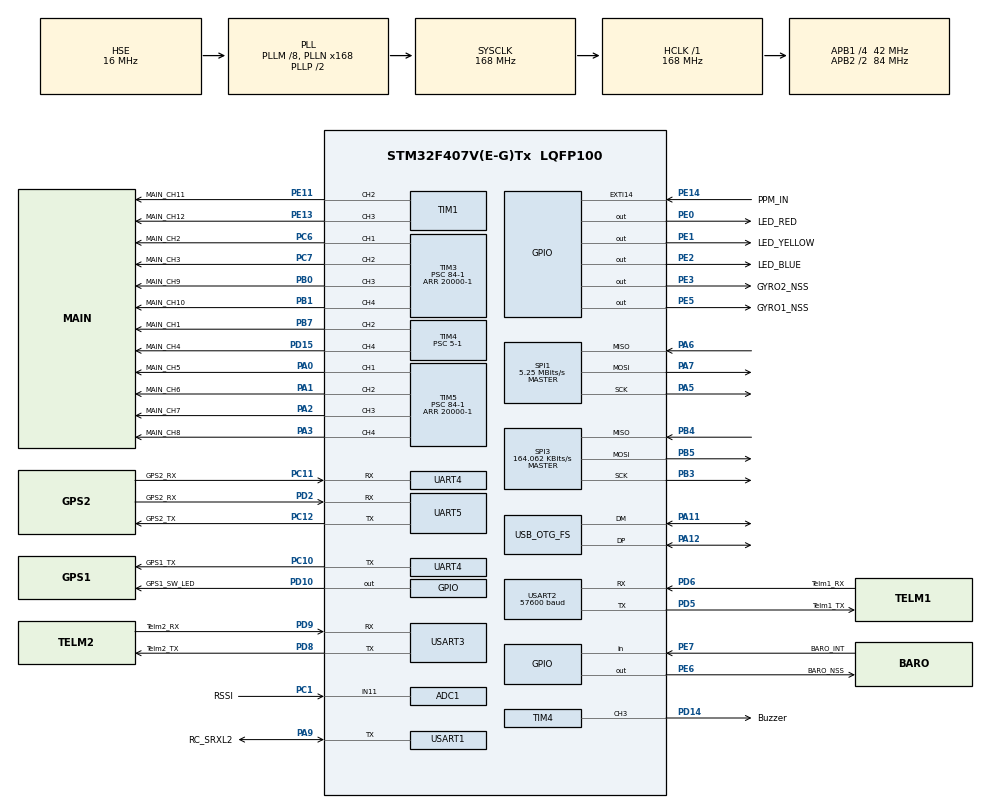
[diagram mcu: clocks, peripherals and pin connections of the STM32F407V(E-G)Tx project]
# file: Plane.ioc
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ADC1.Channel-0\#ChannelRegularConversion=ADC_CHANNEL_11
ADC1.NbrOfConversionFlag=1
ADC1.Rank-0\#ChannelRegularConversion=1
ADC1.SamplingTime-0\#ChannelRegularConversion=ADC_SAMPLETIME_3CYCLES
ADC1.master=1
Mcu.Family=STM32F4
Mcu.Name=STM32F407V(E-G)Tx
Mcu.Package=LQFP100
NVIC.EXTI15_10_IRQn=true\:0\:0\:true\:false\:true\:true\:true\:true
NVIC.OTG_FS_IRQn=true\:1\:0\:true\:false\:true\:false\:true\:true
NVIC.PriorityGroup=NVIC_PRIORITYGROUP_4
NVIC.TIM1_UP_TIM10_IRQn=true\:3\:0\:true\:false\:true\:true\:true\:true
NVIC.TIM5_IRQn=true\:3\:0\:true\:false\:true\:true\:true\:true
NVIC.TIM8_TRG_COM_TIM14_IRQn=true\:4\:0\:true\:false\:true\:true\:true\:true
NVIC.TIM8_UP_TIM13_IRQn=true\:4\:0\:true\:false\:true\:true\:true\:true
NVIC.UART5_IRQn=true\:2\:0\:true\:false\:true\:true\:true\:true
NVIC.USART1_IRQn=true\:0\:0\:true\:false\:true\:true\:true\:true
NVIC.USART2_IRQn=true\:2\:0\:true\:false\:true\:true\:true\:true
NVIC.USART3_IRQn=true\:2\:0\:true\:false\:true\:true\:true\:true
PA0-WKUP.GPIO_Label=MAIN_CH5
PA0-WKUP.Signal=S_TIM5_CH1
PA1.GPIO_Label=MAIN_CH6
PA1.Signal=S_TIM5_CH2
PA11.Mode=Device_Only
PA11.Signal=USB_OTG_FS_DM
PA12.Mode=Device_Only
PA12.Signal=USB_OTG_FS_DP
PA13.Mode=Serial_Wire
PA13.Signal=SYS_JTMS-SWDIO
PA14.Mode=Serial_Wire
PA14.Signal=SYS_JTCK-SWCLK
PA2.GPIO_Label=MAIN_CH7
PA2.Signal=S_TIM5_CH3
PA3.GPIO_Label=MAIN_CH8
PA3.Signal=S_TIM5_CH4
PA5.GPIO_Mode=GPIO_MODE_AF_PP
PA5.GPIO_PuPd=GPIO_NOPULL
PA5.Mode=Full_Duplex_Master
PA5.Signal=SPI1_SCK
PA6.Mode=Full_Duplex_Master
PA6.Signal=SPI1_MISO
PA7.Mode=Full_Duplex_Master
PA7.Signal=SPI1_MOSI
PA9.GPIO_Label=RC_SRXL2
PA9.GPIO_ModeDefaultOD=GPIO_MODE_AF_PP
PA9.GPIO_PuPd=GPIO_PULLUP
PA9.Mode=Half_duplex(single_wire_mode)
PA9.Signal=USART1_TX
PB0.GPIO_Label=MAIN_CH9
PB0.Signal=S_TIM3_CH3
PB1.GPIO_Label=MAIN_CH10
PB1.Signal=S_TIM3_CH4
PB3.GPIO_PuPd=GPIO_NOPULL
PB3.Mode=Full_Duplex_Master
PB3.Signal=SPI3_SCK
PB4.GPIO_PuPd=GPIO_NOPULL
PB4.Mode=Full_Duplex_Master
PB4.Signal=SPI3_MISO
PB5.GPIO_PuPd=GPIO_NOPULL
PB5.Mode=Full_Duplex_Master
PB5.Signal=SPI3_MOSI
PB7.GPIO_Label=MAIN_CH1
PB7.Signal=S_TIM4_CH2
PC1.GPIO_Label=RSSI
PC1.Signal=ADCx_IN11
PC10.GPIO_Label=GPS1_TX
PC10.Mode=Asynchronous
PC10.Signal=UART4_TX
PC11.GPIO_Label=GPS2_RX
PC11.Mode=Asynchronous
PC11.Signal=UART4_RX
PC12.GPIO_Label=GPS2_TX
PC12.Mode=Asynchronous
PC12.Signal=UART5_TX
PC6.GPIO_Label=MAIN_CH2
PC6.Signal=S_TIM3_CH1
PC7.GPIO_Label=MAIN_CH3
PC7.Signal=S_TIM3_CH2
PD10.GPIO_Label=GPS1_SW_LED 
PD10.Signal=GPIO_Output
PD11.Signal=USART3_CTS
PD12.Signal=USART3_RTS
PD14.GPIO_Label=Buzzer
PD14.Signal=S_TIM4_CH3
PD15.GPIO_Label=MAIN_CH4
PD15.Signal=S_TIM4_CH4
PD2.GPIO_Label=GPS2_RX
PD2.Mode=Asynchronous
PD2.Signal=UART5_RX
PD3.Signal=USART2_CTS
PD4.Signal=USART2_RTS
PD5.GPIO_Label=Telm1_TX
PD5.Mode=Asynchronous
PD5.Signal=USART2_TX
PD6.GPIO_Label=Telm1_RX
PD6.Mode=Asynchronous
PD6.Signal=USART2_RX
PD8.GPIO_Label=Telm2_TX
PD8.Mode=Asynchronous
PD8.Signal=USART3_TX
PD9.GPIO_Label=Telm2_RX
PD9.Mode=Asynchronous
PD9.Signal=USART3_RX
PE0.GPIO_Label=LED_RED
PE0.Signal=GPIO_Output
PE1.GPIO_Label=LED_YELLOW
PE1.Signal=GPIO_Output
PE11.GPIO_Label=MAIN_CH11
PE11.Signal=S_TIM1_CH2
PE13.GPIO_Label=MAIN_CH12
PE13.Signal=S_TIM1_CH3
PE14.GPIO_Label=PPM_IN
PE14.GPIO_ModeDefaultEXTI=GPIO_MODE_IT_FALLING
PE14.Signal=GPXTI14
PE2.GPIO_Label=LED_BLUE
PE2.Signal=GPIO_Output
PE3.GPIO_Label=GYRO2_NSS
PE3.GPIO_PuPd=GPIO_PULLUP
PE3.Signal=GPIO_Output
PE5.GPIO_Label=GYRO1_NSS
PE5.GPIO_PuPd=GPIO_PULLUP
PE5.Signal=GPIO_Output
PE6.GPIO_Label=BARO_NSS
PE6.GPIO_PuPd=GPIO_PULLUP
PE6.Signal=GPIO_Output
PE7.GPIO_Label=BARO_INT
PE7.Signal=GPIO_Input
PH0-OSC_IN.Mode=HSE-External-Oscillator
PH0-OSC_IN.Signal=RCC_OSC_IN
PH1-OSC_OUT.Mode=HSE-External-Oscillator
PH1-OSC_OUT.Signal=RCC_OSC_OUT
ProjectManager.HeapSize=0x200
ProjectManager.StackSize=0x400
ProjectManager.TargetToolchain=STM32CubeIDE
RCC.48MHZClocksFreq_Value=48000000
RCC.AHBFreq_Value=168000000
RCC.APB1CLKDivider=RCC_HCLK_DIV4
RCC.APB1Freq_Value=42000000
RCC.APB1TimFreq_Value=84000000
RCC.APB2CLKDivider=RCC_HCLK_DIV2
RCC.APB2Freq_Value=84000000
RCC.APB2TimFreq_Value=168000000
RCC.CortexFreq_Value=168000000
RCC.HCLKFreq_Value=168000000
RCC.HSE_VALUE=16000000
RCC.HSI_VALUE=16000000
RCC.LSE_VALUE=32768
RCC.PLLM=8
RCC.PLLN=168
RCC.PLLQ=7
RCC.SYSCLKFreq_VALUE=168000000
RCC.SYSCLKSource=RCC_SYSCLKSOURCE_PLLCLK
RCC.VCOOutputFreq_Value=336000000
SH.ADCx_IN11.0=ADC1_IN11,IN11
SH.S_TIM1_CH2.0=TIM1_CH2,PWM Generation2 CH2
SH.S_TIM1_CH3.0=TIM1_CH3,PWM Generation3 CH3
SH.S_TIM3_CH1.0=TIM3_CH1,PWM Generation1 CH1
SH.S_TIM3_CH2.0=TIM3_CH2,PWM Generation2 CH2
SH.S_TIM3_CH3.0=TIM3_CH3,PWM Generation3 CH3
SH.S_TIM3_CH4.0=TIM3_CH4,PWM Generation4 CH4
SH.S_TIM4_CH2.0=TIM4_CH2,PWM Generation2 CH2
SH.S_TIM4_CH3.0=TIM4_CH3,PWM Generation3 CH3
SH.S_TIM4_CH4.0=TIM4_CH4,PWM Generation4 CH4
SH.S_TIM5_CH1.0=TIM5_CH1,PWM Generation1 CH1
SH.S_TIM5_CH2.0=TIM5_CH2,PWM Generation2 CH2
SH.S_TIM5_CH3.0=TIM5_CH3,PWM Generation3 CH3
SH.S_TIM5_CH4.0=TIM5_CH4,PWM Generation4 CH4
SPI1.BaudRatePrescaler=SPI_BAUDRATEPRESCALER_16
SPI1.CLKPhase=SPI_PHASE_2EDGE
SPI1.CLKPolarity=SPI_POLARITY_HIGH
SPI1.CalculateBaudRate=5.25 MBits/s
SPI1.Direction=SPI_DIRECTION_2LINES
SPI1.Mode=SPI_MODE_MASTER
SPI1.VirtualType=VM_MASTER
SPI3.BaudRatePrescaler=SPI_BAUDRATEPRESCALER_256
SPI3.CLKPhase=SPI_PHASE_2EDGE
SPI3.CLKPolarity=SPI_POLARITY_HIGH
SPI3.CalculateBaudRate=164.062 KBits/s
SPI3.Direction=SPI_DIRECTION_2LINES
SPI3.Mode=SPI_MODE_MASTER
SPI3.VirtualType=VM_MASTER
TIM1.Channel-PWM\ Generation2\ CH2=TIM_CHANNEL_2
TIM1.Channel-PWM\ Generation3\ CH3=TIM_CHANNEL_3
TIM13.Channel=TIM_CHANNEL_1
TIM13.Period=42000-1
TIM13.Prescaler=2-1
TIM14.Channel=TIM_CHANNEL_1
TIM14.Period=84-1
TIM14.Prescaler=0
TIM3.Channel-PWM\ Generation1\ CH1=TIM_CHANNEL_1
TIM3.Channel-PWM\ Generation2\ CH2=TIM_CHANNEL_2
TIM3.Channel-PWM\ Generation3\ CH3=TIM_CHANNEL_3
TIM3.Channel-PWM\ Generation4\ CH4=TIM_CHANNEL_4
TIM3.Period=20000-1
TIM3.Prescaler=84-1
TIM4.Channel-PWM\ Generation2\ CH2=TIM_CHANNEL_2
TIM4.Channel-PWM\ Generation3\ CH3=TIM_CHANNEL_3
TIM4.Channel-PWM\ Generation4\ CH4=TIM_CHANNEL_4
TIM4.Period=64220-1
TIM4.Prescaler=5-1
TIM4.Pulse-PWM\ Generation3\ CH3=0
TIM5.AutoReloadPreload=TIM_AUTORELOAD_PRELOAD_DISABLE
TIM5.Channel-PWM\ Generation1\ CH1=TIM_CHANNEL_1
TIM5.Channel-PWM\ Generation2\ CH2=TIM_CHANNEL_2
TIM5.Channel-PWM\ Generation3\ CH3=TIM_CHANNEL_3
TIM5.Channel-PWM\ Generation4\ CH4=TIM_CHANNEL_4
TIM5.Period=20000-1
TIM5.Prescaler=84-1
TIM5.Pulse-PWM\ Generation1\ CH1=1000-1
TIM5.Pulse-PWM\ Generation2\ CH2=1000-1
TIM5.Pulse-PWM\ Generation3\ CH3=1000-1
TIM5.Pulse-PWM\ Generation4\ CH4=1000-1
UART4.VirtualMode=Asynchronous
UART5.VirtualMode=Asynchronous
USART1.VirtualMode=VM_ASYNC
USART2.BaudRate=57600
USART2.VirtualMode=VM_ASYNC
USART3.VirtualMode=VM_ASYNC
USB_DEVICE.CLASS_NAME_FS=CDC
USB_DEVICE.USBD_DEBUG_LEVEL-CDC_FS=0
USB_DEVICE.VirtualMode-CDC_FS=Cdc
USB_DEVICE.VirtualModeFS=Cdc_FS
USB_OTG_FS.VirtualMode=Device_Only
VP_TIM13_VS_ClockSourceINT.Mode=Enable_Timer
VP_TIM13_VS_no_output1.Mode=Output Compare1 No Output
VP_TIM14_VS_ClockSourceINT.Mode=Enable_Timer
VP_TIM14_VS_no_output1.Mode=Output Compare1 No Output
VP_TIM1_VS_ClockSourceINT.Mode=Internal
VP_TIM3_VS_ClockSourceINT.Mode=Internal
VP_TIM4_VS_ClockSourceINT.Mode=Internal
VP_TIM5_VS_ClockSourceINT.Mode=Internal
VP_USB_DEVICE_VS_USB_DEVICE_CDC_FS.Mode=CDC_FS
board=custom

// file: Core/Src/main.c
/* USER CODE BEGIN Header */
/**
  ******************************************************************************
  * @file           : main.c
  * @brief          : Main program body
  ******************************************************************************
  * @attention
  *
  * Copyright (c) 2025 STMicroelectronics.
  * All rights reserved.
  *
  * This software is licensed under terms that can be found in the LICENSE file
  * in the root directory of this software component.
  * If no LICENSE file comes with this software, it is provided AS-IS.
  *
  ******************************************************************************
  */
/* USER CODE END Header */
#include "main.h"
#include "usb_device.h"

/* USER CODE BEGIN Includes */
#include "usbd_cdc_if.h"

#include <FC_Param/Param.h>
#include <GCS_MAVLink/GCS_MAVLink.h>

#include <FC_Basic/Buzzer/driver.h>

#include <FC_Servo/driver.h>
#include <FC_RC/driver.h>

#include <FC_AHRS/FC_IMU/driver.h>
#include <FC_AHRS/FC_Baro/driver.h>

#include <FC_Log/Log.h>

/* USER CODE END Includes */

/* USER CODE BEGIN PTD */
int _write(int file, char *p, int len)
{
#define PRINT_CDC 1
#if PRINT_CDC == 0
	for(int i=0; i<len; i++)
	{
		while(!LL_USART_IsActiveFlag_TXE(USART2));
		LL_USART_TransmitData8(USART2, *(p+i));
	}
#else
	while(USBD_BUSY == CDC_Transmit_FS((uint8_t*)p, len)) {}
	return len;
#endif
}

/* USER CODE END PTD */

/* USER CODE BEGIN PV */
// Telm1
extern uint8_t uart2_rx_flag;
extern uint8_t uart2_rx_data;

// Telm2
extern uint8_t uart3_rx_flag;
extern uint8_t uart3_rx_data;
/* USER CODE END PV */

void SystemClock_Config(void);
static void MX_GPIO_Init(void);
static void MX_USART1_UART_Init(void);
static void MX_TIM1_Init(void);
static void MX_TIM3_Init(void);
static void MX_TIM4_Init(void);
static void MX_TIM5_Init(void);
static void MX_TIM13_Init(void);
static void MX_TIM14_Init(void);
static void MX_SPI1_Init(void);
static void MX_USART2_UART_Init(void);
static void MX_USART3_UART_Init(void);
static void MX_UART4_Init(void);
static void MX_UART5_Init(void);
static void MX_ADC1_Init(void);
static void MX_SPI3_Init(void);
/* USER CODE BEGIN PFP */
extern int PARM_load(void);
/* USER CODE END PFP */

int main(void)
{

  /* MCU Configuration--------------------------------------------------------*/

  /* Reset of all peripherals, Initializes the Flash interface and the Systick. */
  HAL_Init();

  /* Configure the system clock */
  SystemClock_Config();

  /* Initialize all configured peripherals */
  MX_GPIO_Init();
  MX_USART1_UART_Init();
  MX_TIM1_Init();
  MX_TIM3_Init();
  MX_TIM4_Init();
  MX_TIM5_Init();
  MX_TIM13_Init();
  MX_TIM14_Init();
  MX_SPI1_Init();
  MX_USART2_UART_Init();
  MX_USART3_UART_Init();
  MX_UART4_Init();
  MX_UART5_Init();
  MX_USB_DEVICE_Init();
  MX_ADC1_Init();
  MX_SPI3_Init();
  /* USER CODE BEGIN 2 */

  LL_TIM_EnableCounter(TIM4);
  LL_TIM_EnableCounter(TIM13);
  LL_TIM_EnableCounter(TIM14);

  PARM_load();

  BuzzerPlayInit();

  // interrupt when finished receiving
  LL_USART_EnableIT_RXNE(USART1);
  LL_USART_EnableIT_RXNE(USART2);
  LL_USART_EnableIT_RXNE(USART3);

  // 필수 기기 점검
  SERVO_Initialization();
  RC_Initialization();
  IMU_Initialization();
//  Baro_Initialization();
  BuzzerPlayOneCycle();
  SERVO_doArm();

  /* USER CODE END 2 */

  /* Infinite loop */
  /* USER CODE BEGIN WHILE */
  while (1)
  {
	  RC_GetData();

	  IMU_GetData();
//	  Baro_GetData();

	  if(fsFlag == 1){
		  FS_mannualMode();
	  }
	  else{
		  LL_GPIO_ResetOutputPin(LED_RED_GPIO_Port, LED_RED_Pin);
		  SERVO_control();
	  }

	  Log_Send();

    /* USER CODE END WHILE */

  }
}

void SystemClock_Config(void)
{
  RCC_OscInitTypeDef RCC_OscInitStruct = {0};
  RCC_ClkInitTypeDef RCC_ClkInitStruct = {0};

  /** Configure the main internal regulator output voltage
  */
  __HAL_RCC_PWR_CLK_ENABLE();
  __HAL_PWR_VOLTAGESCALING_CONFIG(PWR_REGULATOR_VOLTAGE_SCALE1);

  /** Initializes the RCC Oscillators according to the specified parameters
  * in the RCC_OscInitTypeDef structure.
  */
  RCC_OscInitStruct.OscillatorType = RCC_OSCILLATORTYPE_HSE;
  RCC_OscInitStruct.HSEState = RCC_HSE_ON;
  RCC_OscInitStruct.PLL.PLLState = RCC_PLL_ON;
  RCC_OscInitStruct.PLL.PLLSource = RCC_PLLSOURCE_HSE;
  RCC_OscInitStruct.PLL.PLLM = 8;
  RCC_OscInitStruct.PLL.PLLN = 168;
  RCC_OscInitStruct.PLL.PLLP = RCC_PLLP_DIV2;
  RCC_OscInitStruct.PLL.PLLQ = 7;
  if (HAL_RCC_OscConfig(&RCC_OscInitStruct) != HAL_OK)
  {
    Error_Handler();
  }

  /** Initializes the CPU, AHB and APB buses clocks
  */
  RCC_ClkInitStruct.ClockType = RCC_CLOCKTYPE_HCLK|RCC_CLOCKTYPE_SYSCLK
                              |RCC_CLOCKTYPE_PCLK1|RCC_CLOCKTYPE_PCLK2;
  RCC_ClkInitStruct.SYSCLKSource = RCC_SYSCLKSOURCE_PLLCLK;
  RCC_ClkInitStruct.AHBCLKDivider = RCC_SYSCLK_DIV1;
  RCC_ClkInitStruct.APB1CLKDivider = RCC_HCLK_DIV4;
  RCC_ClkInitStruct.APB2CLKDivider = RCC_HCLK_DIV2;

  if (HAL_RCC_ClockConfig(&RCC_ClkInitStruct, FLASH_LATENCY_5) != HAL_OK)
  {
    Error_Handler();
  }
}

static void MX_ADC1_Init(void)
{

  LL_ADC_InitTypeDef ADC_InitStruct = {0};
  LL_ADC_REG_InitTypeDef ADC_REG_InitStruct = {0};
  LL_ADC_CommonInitTypeDef ADC_CommonInitStruct = {0};

  LL_GPIO_InitTypeDef GPIO_InitStruct = {0};

  /* Peripheral clock enable */
  LL_APB2_GRP1_EnableClock(LL_APB2_GRP1_PERIPH_ADC1);

  LL_AHB1_GRP1_EnableClock(LL_AHB1_GRP1_PERIPH_GPIOC);
  /**ADC1 GPIO Configuration
  PC1   ------> ADC1_IN11
  */
  GPIO_InitStruct.Pin = RSSI_Pin;
  GPIO_InitStruct.Mode = LL_GPIO_MODE_ANALOG;
  GPIO_InitStruct.Pull = LL_GPIO_PULL_NO;
  LL_GPIO_Init(RSSI_GPIO_Port, &GPIO_InitStruct);

  /** Common config
  */
  ADC_InitStruct.Resolution = LL_ADC_RESOLUTION_12B;
  ADC_InitStruct.DataAlignment = LL_ADC_DATA_ALIGN_RIGHT;
  ADC_InitStruct.SequencersScanMode = LL_ADC_SEQ_SCAN_DISABLE;
  LL_ADC_Init(ADC1, &ADC_InitStruct);
  ADC_REG_InitStruct.TriggerSource = LL_ADC_REG_TRIG_SOFTWARE;
  ADC_REG_InitStruct.SequencerLength = LL_ADC_REG_SEQ_SCAN_DISABLE;
  ADC_REG_InitStruct.SequencerDiscont = LL_ADC_REG_SEQ_DISCONT_DISABLE;
  ADC_REG_InitStruct.ContinuousMode = LL_ADC_REG_CONV_SINGLE;
  ADC_REG_InitStruct.DMATransfer = LL_ADC_REG_DMA_TRANSFER_NONE;
  LL_ADC_REG_Init(ADC1, &ADC_REG_InitStruct);
  LL_ADC_REG_SetFlagEndOfConversion(ADC1, LL_ADC_REG_FLAG_EOC_UNITARY_CONV);
  ADC_CommonInitStruct.CommonClock = LL_ADC_CLOCK_SYNC_PCLK_DIV4;
  ADC_CommonInitStruct.Multimode = LL_ADC_MULTI_INDEPENDENT;
  LL_ADC_CommonInit(__LL_ADC_COMMON_INSTANCE(ADC1), &ADC_CommonInitStruct);

  /** Configure Regular Channel
  */
  LL_ADC_REG_SetSequencerRanks(ADC1, LL_ADC_REG_RANK_1, LL_ADC_CHANNEL_11);
  LL_ADC_SetChannelSamplingTime(ADC1, LL_ADC_CHANNEL_11, LL_ADC_SAMPLINGTIME_3CYCLES);

}

static void MX_SPI1_Init(void)
{

  LL_SPI_InitTypeDef SPI_InitStruct = {0};

  LL_GPIO_InitTypeDef GPIO_InitStruct = {0};

  /* Peripheral clock enable */
  LL_APB2_GRP1_EnableClock(LL_APB2_GRP1_PERIPH_SPI1);

  LL_AHB1_GRP1_EnableClock(LL_AHB1_GRP1_PERIPH_GPIOA);
  /**SPI1 GPIO Configuration
  PA5   ------> SPI1_SCK
  PA6   ------> SPI1_MISO
  PA7   ------> SPI1_MOSI
  */
  GPIO_InitStruct.Pin = LL_GPIO_PIN_5|LL_GPIO_PIN_6|LL_GPIO_PIN_7;
  GPIO_InitStruct.Mode = LL_GPIO_MODE_ALTERNATE;
  GPIO_InitStruct.Speed = LL_GPIO_SPEED_FREQ_VERY_HIGH;
  GPIO_InitStruct.OutputType = LL_GPIO_OUTPUT_PUSHPULL;
  GPIO_InitStruct.Pull = LL_GPIO_PULL_NO;
  GPIO_InitStruct.Alternate = LL_GPIO_AF_5;
  LL_GPIO_Init(GPIOA, &GPIO_InitStruct);

  /* SPI1 parameter configuration*/
  SPI_InitStruct.TransferDirection = LL_SPI_FULL_DUPLEX;
  SPI_InitStruct.Mode = LL_SPI_MODE_MASTER;
  SPI_InitStruct.DataWidth = LL_SPI_DATAWIDTH_8BIT;
  SPI_InitStruct.ClockPolarity = LL_SPI_POLARITY_HIGH;
  SPI_InitStruct.ClockPhase = LL_SPI_PHASE_2EDGE;
  SPI_InitStruct.NSS = LL_SPI_NSS_SOFT;
  SPI_InitStruct.BaudRate = LL_SPI_BAUDRATEPRESCALER_DIV16;
  SPI_InitStruct.BitOrder = LL_SPI_MSB_FIRST;
  SPI_InitStruct.CRCCalculation = LL_SPI_CRCCALCULATION_DISABLE;
  SPI_InitStruct.CRCPoly = 10;
  LL_SPI_Init(SPI1, &SPI_InitStruct);
  LL_SPI_SetStandard(SPI1, LL_SPI_PROTOCOL_MOTOROLA);

}

static void MX_SPI3_Init(void)
{

  LL_SPI_InitTypeDef SPI_InitStruct = {0};

  LL_GPIO_InitTypeDef GPIO_InitStruct = {0};

  /* Peripheral clock enable */
  LL_APB1_GRP1_EnableClock(LL_APB1_GRP1_PERIPH_SPI3);

  LL_AHB1_GRP1_EnableClock(LL_AHB1_GRP1_PERIPH_GPIOB);
  /**SPI3 GPIO Configuration
  PB3   ------> SPI3_SCK
  PB4   ------> SPI3_MISO
  PB5   ------> SPI3_MOSI
  */
  GPIO_InitStruct.Pin = LL_GPIO_PIN_3|LL_GPIO_PIN_4|LL_GPIO_PIN_5;
  GPIO_InitStruct.Mode = LL_GPIO_MODE_ALTERNATE;
  GPIO_InitStruct.Speed = LL_GPIO_SPEED_FREQ_VERY_HIGH;
  GPIO_InitStruct.OutputType = LL_GPIO_OUTPUT_PUSHPULL;
  GPIO_InitStruct.Pull = LL_GPIO_PULL_NO;
  GPIO_InitStruct.Alternate = LL_GPIO_AF_6;
  LL_GPIO_Init(GPIOB, &GPIO_InitStruct);

  /* SPI3 parameter configuration*/
  SPI_InitStruct.TransferDirection = LL_SPI_FULL_DUPLEX;
  SPI_InitStruct.Mode = LL_SPI_MODE_MASTER;
  SPI_InitStruct.DataWidth = LL_SPI_DATAWIDTH_8BIT;
  SPI_InitStruct.ClockPolarity = LL_SPI_POLARITY_HIGH;
  SPI_InitStruct.ClockPhase = LL_SPI_PHASE_2EDGE;
  SPI_InitStruct.NSS = LL_SPI_NSS_SOFT;
  SPI_InitStruct.BaudRate = LL_SPI_BAUDRATEPRESCALER_DIV256;
  SPI_InitStruct.BitOrder = LL_SPI_MSB_FIRST;
  SPI_InitStruct.CRCCalculation = LL_SPI_CRCCALCULATION_DISABLE;
  SPI_InitStruct.CRCPoly = 10;
  LL_SPI_Init(SPI3, &SPI_InitStruct);
  LL_SPI_SetStandard(SPI3, LL_SPI_PROTOCOL_MOTOROLA);

}

static void MX_TIM1_Init(void)
{

  LL_TIM_InitTypeDef TIM_InitStruct = {0};
  LL_TIM_OC_InitTypeDef TIM_OC_InitStruct = {0};
  LL_TIM_BDTR_InitTypeDef TIM_BDTRInitStruct = {0};

  LL_GPIO_InitTypeDef GPIO_InitStruct = {0};

  /* Peripheral clock enable */
  LL_APB2_GRP1_EnableClock(LL_APB2_GRP1_PERIPH_TIM1);

  /* TIM1 interrupt Init */
  NVIC_SetPriority(TIM1_UP_TIM10_IRQn, NVIC_EncodePriority(NVIC_GetPriorityGrouping(),3, 0));
  NVIC_EnableIRQ(TIM1_UP_TIM10_IRQn);

  TIM_InitStruct.Prescaler = 0;
  TIM_InitStruct.CounterMode = LL_TIM_COUNTERMODE_UP;
  TIM_InitStruct.Autoreload = 65535;
  TIM_InitStruct.ClockDivision = LL_TIM_CLOCKDIVISION_DIV1;
  TIM_InitStruct.RepetitionCounter = 0;
  LL_TIM_Init(TIM1, &TIM_InitStruct);
  LL_TIM_DisableARRPreload(TIM1);
  LL_TIM_SetClockSource(TIM1, LL_TIM_CLOCKSOURCE_INTERNAL);
  LL_TIM_OC_EnablePreload(TIM1, LL_TIM_CHANNEL_CH2);
  TIM_OC_InitStruct.OCMode = LL_TIM_OCMODE_PWM1;
  TIM_OC_InitStruct.OCState = LL_TIM_OCSTATE_DISABLE;
  TIM_OC_InitStruct.OCNState = LL_TIM_OCSTATE_DISABLE;
  TIM_OC_InitStruct.CompareValue = 0;
  TIM_OC_InitStruct.OCPolarity = LL_TIM_OCPOLARITY_HIGH;
  TIM_OC_InitStruct.OCNPolarity = LL_TIM_OCPOLARITY_HIGH;
  TIM_OC_InitStruct.OCIdleState = LL_TIM_OCIDLESTATE_LOW;
  TIM_OC_InitStruct.OCNIdleState = LL_TIM_OCIDLESTATE_LOW;
  LL_TIM_OC_Init(TIM1, LL_TIM_CHANNEL_CH2, &TIM_OC_InitStruct);
  LL_TIM_OC_DisableFast(TIM1, LL_TIM_CHANNEL_CH2);
  LL_TIM_OC_EnablePreload(TIM1, LL_TIM_CHANNEL_CH3);
  LL_TIM_OC_Init(TIM1, LL_TIM_CHANNEL_CH3, &TIM_OC_InitStruct);
  LL_TIM_OC_DisableFast(TIM1, LL_TIM_CHANNEL_CH3);
  LL_TIM_SetTriggerOutput(TIM1, LL_TIM_TRGO_RESET);
  LL_TIM_DisableMasterSlaveMode(TIM1);
  TIM_BDTRInitStruct.OSSRState = LL_TIM_OSSR_DISABLE;
  TIM_BDTRInitStruct.OSSIState = LL_TIM_OSSI_DISABLE;
  TIM_BDTRInitStruct.LockLevel = LL_TIM_LOCKLEVEL_OFF;
  TIM_BDTRInitStruct.DeadTime = 0;
  TIM_BDTRInitStruct.BreakState = LL_TIM_BREAK_DISABLE;
  TIM_BDTRInitStruct.BreakPolarity = LL_TIM_BREAK_POLARITY_HIGH;
  TIM_BDTRInitStruct.AutomaticOutput = LL_TIM_AUTOMATICOUTPUT_DISABLE;
  LL_TIM_BDTR_Init(TIM1, &TIM_BDTRInitStruct);
  /* USER CODE BEGIN TIM1_Init 2 */
  LL_TIM_EnableIT_UPDATE(TIM1);

  /* USER CODE END TIM1_Init 2 */
  LL_AHB1_GRP1_EnableClock(LL_AHB1_GRP1_PERIPH_GPIOE);
  /**TIM1 GPIO Configuration
  PE11   ------> TIM1_CH2
  PE13   ------> TIM1_CH3
  */
  GPIO_InitStruct.Pin = MAIN_CH11_Pin|MAIN_CH12_Pin;
  GPIO_InitStruct.Mode = LL_GPIO_MODE_ALTERNATE;
  GPIO_InitStruct.Speed = LL_GPIO_SPEED_FREQ_LOW;
  GPIO_InitStruct.OutputType = LL_GPIO_OUTPUT_PUSHPULL;
  GPIO_InitStruct.Pull = LL_GPIO_PULL_NO;
  GPIO_InitStruct.Alternate = LL_GPIO_AF_1;
  LL_GPIO_Init(GPIOE, &GPIO_InitStruct);

}

static void MX_TIM3_Init(void)
{

  LL_TIM_InitTypeDef TIM_InitStruct = {0};
  LL_TIM_OC_InitTypeDef TIM_OC_InitStruct = {0};

  LL_GPIO_InitTypeDef GPIO_InitStruct = {0};

  /* Peripheral clock enable */
  LL_APB1_GRP1_EnableClock(LL_APB1_GRP1_PERIPH_TIM3);

  TIM_InitStruct.Prescaler = 83;
  TIM_InitStruct.CounterMode = LL_TIM_COUNTERMODE_UP;
  TIM_InitStruct.Autoreload = 20000-LL_TIM_IC_FILTER_FDIV1_N2;
  TIM_InitStruct.ClockDivision = LL_TIM_CLOCKDIVISION_DIV1;
  LL_TIM_Init(TIM3, &TIM_InitStruct);
  LL_TIM_DisableARRPreload(TIM3);
  LL_TIM_SetClockSource(TIM3, LL_TIM_CLOCKSOURCE_INTERNAL);
  LL_TIM_OC_EnablePreload(TIM3, LL_TIM_CHANNEL_CH1);
  TIM_OC_InitStruct.OCMode = LL_TIM_OCMODE_PWM1;
  TIM_OC_InitStruct.OCState = LL_TIM_OCSTATE_DISABLE;
  TIM_OC_InitStruct.OCNState = LL_TIM_OCSTATE_DISABLE;
  TIM_OC_InitStruct.CompareValue = 0;
  TIM_OC_InitStruct.OCPolarity = LL_TIM_OCPOLARITY_HIGH;
  LL_TIM_OC_Init(TIM3, LL_TIM_CHANNEL_CH1, &TIM_OC_InitStruct);
  LL_TIM_OC_DisableFast(TIM3, LL_TIM_CHANNEL_CH1);
  LL_TIM_OC_EnablePreload(TIM3, LL_TIM_CHANNEL_CH2);
  LL_TIM_OC_Init(TIM3, LL_TIM_CHANNEL_CH2, &TIM_OC_InitStruct);
  LL_TIM_OC_DisableFast(TIM3, LL_TIM_CHANNEL_CH2);
  LL_TIM_OC_EnablePreload(TIM3, LL_TIM_CHANNEL_CH3);
  LL_TIM_OC_Init(TIM3, LL_TIM_CHANNEL_CH3, &TIM_OC_InitStruct);
  LL_TIM_OC_DisableFast(TIM3, LL_TIM_CHANNEL_CH3);
  LL_TIM_OC_EnablePreload(TIM3, LL_TIM_CHANNEL_CH4);
  LL_TIM_OC_Init(TIM3, LL_TIM_CHANNEL_CH4, &TIM_OC_InitStruct);
  LL_TIM_OC_DisableFast(TIM3, LL_TIM_CHANNEL_CH4);
  LL_TIM_SetTriggerOutput(TIM3, LL_TIM_TRGO_RESET);
  LL_TIM_DisableMasterSlaveMode(TIM3);
  LL_AHB1_GRP1_EnableClock(LL_AHB1_GRP1_PERIPH_GPIOB);
  LL_AHB1_GRP1_EnableClock(LL_AHB1_GRP1_PERIPH_GPIOC);
  /**TIM3 GPIO Configuration
  PB0   ------> TIM3_CH3
  PB1   ------> TIM3_CH4
  PC6   ------> TIM3_CH1
  PC7   ------> TIM3_CH2
  */
  GPIO_InitStruct.Pin = MAIN_CH9_Pin|MAIN_CH10_Pin;
  GPIO_InitStruct.Mode = LL_GPIO_MODE_ALTERNATE;
  GPIO_InitStruct.Speed = LL_GPIO_SPEED_FREQ_LOW;
  GPIO_InitStruct.OutputType = LL_GPIO_OUTPUT_PUSHPULL;
  GPIO_InitStruct.Pull = LL_GPIO_PULL_NO;
  GPIO_InitStruct.Alternate = LL_GPIO_AF_2;
  LL_GPIO_Init(GPIOB, &GPIO_InitStruct);

  GPIO_InitStruct.Pin = MAIN_CH2_Pin|MAIN_CH3_Pin;
  GPIO_InitStruct.Mode = LL_GPIO_MODE_ALTERNATE;
  GPIO_InitStruct.Speed = LL_GPIO_SPEED_FREQ_LOW;
  GPIO_InitStruct.OutputType = LL_GPIO_OUTPUT_PUSHPULL;
  GPIO_InitStruct.Pull = LL_GPIO_PULL_NO;
  GPIO_InitStruct.Alternate = LL_GPIO_AF_2;
  LL_GPIO_Init(GPIOC, &GPIO_InitStruct);

}

static void MX_TIM4_Init(void)
{

  LL_TIM_InitTypeDef TIM_InitStruct = {0};
  LL_TIM_OC_InitTypeDef TIM_OC_InitStruct = {0};

  LL_GPIO_InitTypeDef GPIO_InitStruct = {0};

  /* Peripheral clock enable */
  LL_APB1_GRP1_EnableClock(LL_APB1_GRP1_PERIPH_TIM4);

  TIM_InitStruct.Prescaler = 4;
  TIM_InitStruct.CounterMode = LL_TIM_COUNTERMODE_UP;
  TIM_InitStruct.Autoreload = 64220-LL_TIM_IC_FILTER_FDIV1_N2;
  TIM_InitStruct.ClockDivision = LL_TIM_CLOCKDIVISION_DIV1;
  LL_TIM_Init(TIM4, &TIM_InitStruct);
  LL_TIM_DisableARRPreload(TIM4);
  LL_TIM_SetClockSource(TIM4, LL_TIM_CLOCKSOURCE_INTERNAL);
  LL_TIM_OC_EnablePreload(TIM4, LL_TIM_CHANNEL_CH2);
  TIM_OC_InitStruct.OCMode = LL_TIM_OCMODE_PWM1;
  TIM_OC_InitStruct.OCState = LL_TIM_OCSTATE_DISABLE;
  TIM_OC_InitStruct.OCNState = LL_TIM_OCSTATE_DISABLE;
  TIM_OC_InitStruct.CompareValue = 0;
  TIM_OC_InitStruct.OCPolarity = LL_TIM_OCPOLARITY_HIGH;
  LL_TIM_OC_Init(TIM4, LL_TIM_CHANNEL_CH2, &TIM_OC_InitStruct);
  LL_TIM_OC_DisableFast(TIM4, LL_TIM_CHANNEL_CH2);
  LL_TIM_OC_EnablePreload(TIM4, LL_TIM_CHANNEL_CH3);
  LL_TIM_OC_Init(TIM4, LL_TIM_CHANNEL_CH3, &TIM_OC_InitStruct);
  LL_TIM_OC_DisableFast(TIM4, LL_TIM_CHANNEL_CH3);
  LL_TIM_OC_EnablePreload(TIM4, LL_TIM_CHANNEL_CH4);
  LL_TIM_OC_Init(TIM4, LL_TIM_CHANNEL_CH4, &TIM_OC_InitStruct);
  LL_TIM_OC_DisableFast(TIM4, LL_TIM_CHANNEL_CH4);
  LL_TIM_SetTriggerOutput(TIM4, LL_TIM_TRGO_RESET);
  LL_TIM_DisableMasterSlaveMode(TIM4);
  LL_AHB1_GRP1_EnableClock(LL_AHB1_GRP1_PERIPH_GPIOD);
  LL_AHB1_GRP1_EnableClock(LL_AHB1_GRP1_PERIPH_GPIOB);
  /**TIM4 GPIO Configuration
  PD14   ------> TIM4_CH3
  PD15   ------> TIM4_CH4
  PB7   ------> TIM4_CH2
  */
  GPIO_InitStruct.Pin = Buzzer_Pin|MAIN_CH4_Pin;
  GPIO_InitStruct.Mode = LL_GPIO_MODE_ALTERNATE;
  GPIO_InitStruct.Speed = LL_GPIO_SPEED_FREQ_LOW;
  GPIO_InitStruct.OutputType = LL_GPIO_OUTPUT_PUSHPULL;
  GPIO_InitStruct.Pull = LL_GPIO_PULL_NO;
  GPIO_InitStruct.Alternate = LL_GPIO_AF_2;
  LL_GPIO_Init(GPIOD, &GPIO_InitStruct);

  GPIO_InitStruct.Pin = MAIN_CH1_Pin;
  GPIO_InitStruct.Mode = LL_GPIO_MODE_ALTERNATE;
  GPIO_InitStruct.Speed = LL_GPIO_SPEED_FREQ_LOW;
  GPIO_InitStruct.OutputType = LL_GPIO_OUTPUT_PUSHPULL;
  GPIO_InitStruct.Pull = LL_GPIO_PULL_NO;
  GPIO_InitStruct.Alternate = LL_GPIO_AF_2;
  LL_GPIO_Init(MAIN_CH1_GPIO_Port, &GPIO_InitStruct);

}

static void MX_TIM5_Init(void)
{

  LL_TIM_InitTypeDef TIM_InitStruct = {0};
  LL_TIM_OC_InitTypeDef TIM_OC_InitStruct = {0};

  LL_GPIO_InitTypeDef GPIO_InitStruct = {0};

  /* Peripheral clock enable */
  LL_APB1_GRP1_EnableClock(LL_APB1_GRP1_PERIPH_TIM5);

  /* TIM5 interrupt Init */
  NVIC_SetPriority(TIM5_IRQn, NVIC_EncodePriority(NVIC_GetPriorityGrouping(),3, 0));
  NVIC_EnableIRQ(TIM5_IRQn);

  TIM_InitStruct.Prescaler = 83;
  TIM_InitStruct.CounterMode = LL_TIM_COUNTERMODE_UP;
  TIM_InitStruct.Autoreload = 20000-LL_TIM_IC_FILTER_FDIV1_N2;
  TIM_InitStruct.ClockDivision = LL_TIM_CLOCKDIVISION_DIV1;
  LL_TIM_Init(TIM5, &TIM_InitStruct);
  LL_TIM_DisableARRPreload(TIM5);
  LL_TIM_SetClockSource(TIM5, LL_TIM_CLOCKSOURCE_INTERNAL);
  LL_TIM_OC_EnablePreload(TIM5, LL_TIM_CHANNEL_CH1);
  TIM_OC_InitStruct.OCMode = LL_TIM_OCMODE_PWM1;
  TIM_OC_InitStruct.OCState = LL_TIM_OCSTATE_DISABLE;
  TIM_OC_InitStruct.OCNState = LL_TIM_OCSTATE_DISABLE;
  TIM_OC_InitStruct.CompareValue = 1000-LL_TIM_IC_FILTER_FDIV1_N2;
  TIM_OC_InitStruct.OCPolarity = LL_TIM_OCPOLARITY_HIGH;
  LL_TIM_OC_Init(TIM5, LL_TIM_CHANNEL_CH1, &TIM_OC_InitStruct);
  LL_TIM_OC_DisableFast(TIM5, LL_TIM_CHANNEL_CH1);
  LL_TIM_OC_EnablePreload(TIM5, LL_TIM_CHANNEL_CH2);
  LL_TIM_OC_Init(TIM5, LL_TIM_CHANNEL_CH2, &TIM_OC_InitStruct);
  LL_TIM_OC_DisableFast(TIM5, LL_TIM_CHANNEL_CH2);
  LL_TIM_OC_EnablePreload(TIM5, LL_TIM_CHANNEL_CH3);
  LL_TIM_OC_Init(TIM5, LL_TIM_CHANNEL_CH3, &TIM_OC_InitStruct);
  LL_TIM_OC_DisableFast(TIM5, LL_TIM_CHANNEL_CH3);
  LL_TIM_OC_EnablePreload(TIM5, LL_TIM_CHANNEL_CH4);
  LL_TIM_OC_Init(TIM5, LL_TIM_CHANNEL_CH4, &TIM_OC_InitStruct);
  LL_TIM_OC_DisableFast(TIM5, LL_TIM_CHANNEL_CH4);
  LL_TIM_SetTriggerOutput(TIM5, LL_TIM_TRGO_RESET);
  LL_TIM_DisableMasterSlaveMode(TIM5);
  /* USER CODE BEGIN TIM5_Init 2 */
  LL_TIM_EnableIT_UPDATE(TIM5);

  /* USER CODE END TIM5_Init 2 */
  LL_AHB1_GRP1_EnableClock(LL_AHB1_GRP1_PERIPH_GPIOA);
  /**TIM5 GPIO Configuration
  PA0-WKUP   ------> TIM5_CH1
  PA1   ------> TIM5_CH2
  PA2   ------> TIM5_CH3
  PA3   ------> TIM5_CH4
  */
  GPIO_InitStruct.Pin = MAIN_CH5_Pin|MAIN_CH6_Pin|MAIN_CH7_Pin|MAIN_CH8_Pin;
  GPIO_InitStruct.Mode = LL_GPIO_MODE_ALTERNATE;
  GPIO_InitStruct.Speed = LL_GPIO_SPEED_FREQ_LOW;
  GPIO_InitStruct.OutputType = LL_GPIO_OUTPUT_PUSHPULL;
  GPIO_InitStruct.Pull = LL_GPIO_PULL_NO;
  GPIO_InitStruct.Alternate = LL_GPIO_AF_2;
  LL_GPIO_Init(GPIOA, &GPIO_InitStruct);

}

static void MX_TIM13_Init(void)
{

  LL_TIM_InitTypeDef TIM_InitStruct = {0};
  LL_TIM_OC_InitTypeDef TIM_OC_InitStruct = {0};

  /* Peripheral clock enable */
  LL_APB1_GRP1_EnableClock(LL_APB1_GRP1_PERIPH_TIM13);

  /* TIM13 interrupt Init */
  NVIC_SetPriority(TIM8_UP_TIM13_IRQn, NVIC_EncodePriority(NVIC_GetPriorityGrouping(),4, 0));
  NVIC_EnableIRQ(TIM8_UP_TIM13_IRQn);

  TIM_InitStruct.Prescaler = 1;
  TIM_InitStruct.CounterMode = LL_TIM_COUNTERMODE_UP;
  TIM_InitStruct.Autoreload = 42000-LL_TIM_IC_FILTER_FDIV1_N2;
  TIM_InitStruct.ClockDivision = LL_TIM_CLOCKDIVISION_DIV1;
  LL_TIM_Init(TIM13, &TIM_InitStruct);
  LL_TIM_DisableARRPreload(TIM13);
  TIM_OC_InitStruct.OCMode = LL_TIM_OCMODE_FROZEN;
  TIM_OC_InitStruct.OCState = LL_TIM_OCSTATE_DISABLE;
  TIM_OC_InitStruct.OCNState = LL_TIM_OCSTATE_DISABLE;
  TIM_OC_InitStruct.CompareValue = 0;
  TIM_OC_InitStruct.OCPolarity = LL_TIM_OCPOLARITY_HIGH;
  LL_TIM_OC_Init(TIM13, LL_TIM_CHANNEL_CH1, &TIM_OC_InitStruct);
  LL_TIM_OC_DisableFast(TIM13, LL_TIM_CHANNEL_CH1);
  /* USER CODE BEGIN TIM13_Init 2 */
  LL_TIM_EnableIT_UPDATE(TIM13);

  /* USER CODE END TIM13_Init 2 */

}

static void MX_TIM14_Init(void)
{

  LL_TIM_InitTypeDef TIM_InitStruct = {0};
  LL_TIM_OC_InitTypeDef TIM_OC_InitStruct = {0};

  /* Peripheral clock enable */
  LL_APB1_GRP1_EnableClock(LL_APB1_GRP1_PERIPH_TIM14);

  /* TIM14 interrupt Init */
  NVIC_SetPriority(TIM8_TRG_COM_TIM14_IRQn, NVIC_EncodePriority(NVIC_GetPriorityGrouping(),4, 0));
  NVIC_EnableIRQ(TIM8_TRG_COM_TIM14_IRQn);

  TIM_InitStruct.Prescaler = 0;
  TIM_InitStruct.CounterMode = LL_TIM_COUNTERMODE_UP;
  TIM_InitStruct.Autoreload = 84-LL_TIM_IC_FILTER_FDIV1_N2;
  TIM_InitStruct.ClockDivision = LL_TIM_CLOCKDIVISION_DIV1;
  LL_TIM_Init(TIM14, &TIM_InitStruct);
  LL_TIM_DisableARRPreload(TIM14);
  TIM_OC_InitStruct.OCMode = LL_TIM_OCMODE_FROZEN;
  TIM_OC_InitStruct.OCState = LL_TIM_OCSTATE_DISABLE;
  TIM_OC_InitStruct.OCNState = LL_TIM_OCSTATE_DISABLE;
  TIM_OC_InitStruct.CompareValue = 0;
  TIM_OC_InitStruct.OCPolarity = LL_TIM_OCPOLARITY_HIGH;
  LL_TIM_OC_Init(TIM14, LL_TIM_CHANNEL_CH1, &TIM_OC_InitStruct);
  LL_TIM_OC_DisableFast(TIM14, LL_TIM_CHANNEL_CH1);
  /* USER CODE BEGIN TIM14_Init 2 */
  LL_TIM_EnableIT_UPDATE(TIM14);

  /* USER CODE END TIM14_Init 2 */

}

static void MX_UART4_Init(void)
{

  LL_USART_InitTypeDef USART_InitStruct = {0};

  LL_GPIO_InitTypeDef GPIO_InitStruct = {0};

  /* Peripheral clock enable */
  LL_APB1_GRP1_EnableClock(LL_APB1_GRP1_PERIPH_UART4);

  LL_AHB1_GRP1_EnableClock(LL_AHB1_GRP1_PERIPH_GPIOC);
  /**UART4 GPIO Configuration
  PC10   ------> UART4_TX
  PC11   ------> UART4_RX
  */
  GPIO_InitStruct.Pin = GPS1_TX_Pin|GPS2_RX_Pin;
  GPIO_InitStruct.Mode = LL_GPIO_MODE_ALTERNATE;
  GPIO_InitStruct.Speed = LL_GPIO_SPEED_FREQ_VERY_HIGH;
  GPIO_InitStruct.OutputType = LL_GPIO_OUTPUT_PUSHPULL;
  GPIO_InitStruct.Pull = LL_GPIO_PULL_NO;
  GPIO_InitStruct.Alternate = LL_GPIO_AF_8;
  LL_GPIO_Init(GPIOC, &GPIO_InitStruct);

  USART_InitStruct.BaudRate = 115200;
  USART_InitStruct.DataWidth = LL_USART_DATAWIDTH_8B;
  USART_InitStruct.StopBits = LL_USART_STOPBITS_1;
  USART_InitStruct.Parity = LL_USART_PARITY_NONE;
  USART_InitStruct.TransferDirection = LL_USART_DIRECTION_TX_RX;
  USART_InitStruct.HardwareFlowControl = LL_USART_HWCONTROL_NONE;
  USART_InitStruct.OverSampling = LL_USART_OVERSAMPLING_16;
  LL_USART_Init(UART4, &USART_InitStruct);
  LL_USART_ConfigAsyncMode(UART4);
  LL_USART_Enable(UART4);

}

static void MX_UART5_Init(void)
{

  LL_USART_InitTypeDef USART_InitStruct = {0};

  LL_GPIO_InitTypeDef GPIO_InitStruct = {0};

  /* Peripheral clock enable */
  LL_APB1_GRP1_EnableClock(LL_APB1_GRP1_PERIPH_UART5);

  LL_AHB1_GRP1_EnableClock(LL_AHB1_GRP1_PERIPH_GPIOC);
  LL_AHB1_GRP1_EnableClock(LL_AHB1_GRP1_PERIPH_GPIOD);
  /**UART5 GPIO Configuration
  PC12   ------> UART5_TX
  PD2   ------> UART5_RX
  */
  GPIO_InitStruct.Pin = GPS2_TX_Pin;
  GPIO_InitStruct.Mode = LL_GPIO_MODE_ALTERNATE;
  GPIO_InitStruct.Speed = LL_GPIO_SPEED_FREQ_VERY_HIGH;
  GPIO_InitStruct.OutputType = LL_GPIO_OUTPUT_PUSHPULL;
  GPIO_InitStruct.Pull = LL_GPIO_PULL_NO;
  GPIO_InitStruct.Alternate = LL_GPIO_AF_8;
  LL_GPIO_Init(GPS2_TX_GPIO_Port, &GPIO_InitStruct);

  GPIO_InitStruct.Pin = GPS2_RXD2_Pin;
  GPIO_InitStruct.Mode = LL_GPIO_MODE_ALTERNATE;
  GPIO_InitStruct.Speed = LL_GPIO_SPEED_FREQ_VERY_HIGH;
  GPIO_InitStruct.OutputType = LL_GPIO_OUTPUT_PUSHPULL;
  GPIO_InitStruct.Pull = LL_GPIO_PULL_NO;
  GPIO_InitStruct.Alternate = LL_GPIO_AF_8;
  LL_GPIO_Init(GPS2_RXD2_GPIO_Port, &GPIO_InitStruct);

  /* UART5 interrupt Init */
  NVIC_SetPriority(UART5_IRQn, NVIC_EncodePriority(NVIC_GetPriorityGrouping(),2, 0));
  NVIC_EnableIRQ(UART5_IRQn);

  USART_InitStruct.BaudRate = 115200;
  USART_InitStruct.DataWidth = LL_USART_DATAWIDTH_8B;
  USART_InitStruct.StopBits = LL_USART_STOPBITS_1;
  USART_InitStruct.Parity = LL_USART_PARITY_NONE;
  USART_InitStruct.TransferDirection = LL_USART_DIRECTION_TX_RX;
  USART_InitStruct.HardwareFlowControl = LL_USART_HWCONTROL_NONE;
  USART_InitStruct.OverSampling = LL_USART_OVERSAMPLING_16;
  LL_USART_Init(UART5, &USART_InitStruct);
  LL_USART_ConfigAsyncMode(UART5);
  LL_USART_Enable(UART5);

}

static void MX_USART1_UART_Init(void)
{

  LL_USART_InitTypeDef USART_InitStruct = {0};

  LL_GPIO_InitTypeDef GPIO_InitStruct = {0};

  /* Peripheral clock enable */
  LL_APB2_GRP1_EnableClock(LL_APB2_GRP1_PERIPH_USART1);

  LL_AHB1_GRP1_EnableClock(LL_AHB1_GRP1_PERIPH_GPIOA);
  /**USART1 GPIO Configuration
  PA9   ------> USART1_TX
  */
  GPIO_InitStruct.Pin = RC_SRXL2_Pin;
  GPIO_InitStruct.Mode = LL_GPIO_MODE_ALTERNATE;
  GPIO_InitStruct.Speed = LL_GPIO_SPEED_FREQ_VERY_HIGH;
  GPIO_InitStruct.OutputType = LL_GPIO_OUTPUT_PUSHPULL;
  GPIO_InitStruct.Pull = LL_GPIO_PULL_UP;
  GPIO_InitStruct.Alternate = LL_GPIO_AF_7;
  LL_GPIO_Init(RC_SRXL2_GPIO_Port, &GPIO_InitStruct);

  /* USART1 interrupt Init */
  NVIC_SetPriority(USART1_IRQn, NVIC_EncodePriority(NVIC_GetPriorityGrouping(),0, 0));
  NVIC_EnableIRQ(USART1_IRQn);

  USART_InitStruct.BaudRate = 115200;
  USART_InitStruct.DataWidth = LL_USART_DATAWIDTH_8B;
  USART_InitStruct.StopBits = LL_USART_STOPBITS_1;
  USART_InitStruct.Parity = LL_USART_PARITY_NONE;
  USART_InitStruct.TransferDirection = LL_USART_DIRECTION_TX_RX;
  USART_InitStruct.OverSampling = LL_USART_OVERSAMPLING_16;
  LL_USART_Init(USART1, &USART_InitStruct);
  LL_USART_Enable(USART1);
  LL_USART_ConfigHalfDuplexMode(USART1);

}

static void MX_USART2_UART_Init(void)
{

  LL_USART_InitTypeDef USART_InitStruct = {0};

  LL_GPIO_InitTypeDef GPIO_InitStruct = {0};

  /* Peripheral clock enable */
  LL_APB1_GRP1_EnableClock(LL_APB1_GRP1_PERIPH_USART2);

  LL_AHB1_GRP1_EnableClock(LL_AHB1_GRP1_PERIPH_GPIOD);
  /**USART2 GPIO Configuration
  PD3   ------> USART2_CTS
  PD4   ------> USART2_RTS
  PD5   ------> USART2_TX
  PD6   ------> USART2_RX
  */
  GPIO_InitStruct.Pin = LL_GPIO_PIN_3|LL_GPIO_PIN_4|Telm1_TX_Pin|Telm1_RX_Pin;
  GPIO_InitStruct.Mode = LL_GPIO_MODE_ALTERNATE;
  GPIO_InitStruct.Speed = LL_GPIO_SPEED_FREQ_VERY_HIGH;
  GPIO_InitStruct.OutputType = LL_GPIO_OUTPUT_PUSHPULL;
  GPIO_InitStruct.Pull = LL_GPIO_PULL_NO;
  GPIO_InitStruct.Alternate = LL_GPIO_AF_7;
  LL_GPIO_Init(GPIOD, &GPIO_InitStruct);

  /* USART2 interrupt Init */
  NVIC_SetPriority(USART2_IRQn, NVIC_EncodePriority(NVIC_GetPriorityGrouping(),2, 0));
  NVIC_EnableIRQ(USART2_IRQn);

  USART_InitStruct.BaudRate = 57600;
  USART_InitStruct.DataWidth = LL_USART_DATAWIDTH_8B;
  USART_InitStruct.StopBits = LL_USART_STOPBITS_1;
  USART_InitStruct.Parity = LL_USART_PARITY_NONE;
  USART_InitStruct.TransferDirection = LL_USART_DIRECTION_TX_RX;
  USART_InitStruct.HardwareFlowControl = LL_USART_HWCONTROL_NONE;
  USART_InitStruct.OverSampling = LL_USART_OVERSAMPLING_16;
  LL_USART_Init(USART2, &USART_InitStruct);
  LL_USART_ConfigAsyncMode(USART2);
  LL_USART_Enable(USART2);

}

static void MX_USART3_UART_Init(void)
{

  LL_USART_InitTypeDef USART_InitStruct = {0};

  LL_GPIO_InitTypeDef GPIO_InitStruct = {0};

  /* Peripheral clock enable */
  LL_APB1_GRP1_EnableClock(LL_APB1_GRP1_PERIPH_USART3);

  LL_AHB1_GRP1_EnableClock(LL_AHB1_GRP1_PERIPH_GPIOD);
  /**USART3 GPIO Configuration
  PD8   ------> USART3_TX
  PD9   ------> USART3_RX
  PD11   ------> USART3_CTS
  PD12   ------> USART3_RTS
  */
  GPIO_InitStruct.Pin = Telm2_TX_Pin|Telm2_RX_Pin|LL_GPIO_PIN_11|LL_GPIO_PIN_12;
  GPIO_InitStruct.Mode = LL_GPIO_MODE_ALTERNATE;
  GPIO_InitStruct.Speed = LL_GPIO_SPEED_FREQ_VERY_HIGH;
  GPIO_InitStruct.OutputType = LL_GPIO_OUTPUT_PUSHPULL;
  GPIO_InitStruct.Pull = LL_GPIO_PULL_NO;
  GPIO_InitStruct.Alternate = LL_GPIO_AF_7;
  LL_GPIO_Init(GPIOD, &GPIO_InitStruct);

  /* USART3 interrupt Init */
  NVIC_SetPriority(USART3_IRQn, NVIC_EncodePriority(NVIC_GetPriorityGrouping(),2, 0));
  NVIC_EnableIRQ(USART3_IRQn);

  USART_InitStruct.BaudRate = 115200;
  USART_InitStruct.DataWidth = LL_USART_DATAWIDTH_8B;
  USART_InitStruct.StopBits = LL_USART_STOPBITS_1;
  USART_InitStruct.Parity = LL_USART_PARITY_NONE;
  USART_InitStruct.TransferDirection = LL_USART_DIRECTION_TX_RX;
  USART_InitStruct.HardwareFlowControl = LL_USART_HWCONTROL_NONE;
  USART_InitStruct.OverSampling = LL_USART_OVERSAMPLING_16;
  LL_USART_Init(USART3, &USART_InitStruct);
  LL_USART_ConfigAsyncMode(USART3);
  LL_USART_Enable(USART3);

}

static void MX_GPIO_Init(void)
{
  LL_EXTI_InitTypeDef EXTI_InitStruct = {0};
  LL_GPIO_InitTypeDef GPIO_InitStruct = {0};

  /* GPIO Ports Clock Enable */
  LL_AHB1_GRP1_EnableClock(LL_AHB1_GRP1_PERIPH_GPIOE);
  LL_AHB1_GRP1_EnableClock(LL_AHB1_GRP1_PERIPH_GPIOH);
  LL_AHB1_GRP1_EnableClock(LL_AHB1_GRP1_PERIPH_GPIOC);
  LL_AHB1_GRP1_EnableClock(LL_AHB1_GRP1_PERIPH_GPIOA);
  LL_AHB1_GRP1_EnableClock(LL_AHB1_GRP1_PERIPH_GPIOB);
  LL_AHB1_GRP1_EnableClock(LL_AHB1_GRP1_PERIPH_GPIOD);

  /**/
  LL_GPIO_ResetOutputPin(GPIOE, LED_BLUE_Pin|GYRO2_NSS_Pin|GYRO1_NSS_Pin|BARO_NSS_Pin
                          |LED_RED_Pin|LED_YELLOW_Pin);

  /**/
  LL_GPIO_ResetOutputPin(GPS1_SW_LED_GPIO_Port, GPS1_SW_LED_Pin);

  /**/
  GPIO_InitStruct.Pin = LED_BLUE_Pin|LED_RED_Pin|LED_YELLOW_Pin;
  GPIO_InitStruct.Mode = LL_GPIO_MODE_OUTPUT;
  GPIO_InitStruct.Speed = LL_GPIO_SPEED_FREQ_LOW;
  GPIO_InitStruct.OutputType = LL_GPIO_OUTPUT_PUSHPULL;
  GPIO_InitStruct.Pull = LL_GPIO_PULL_NO;
  LL_GPIO_Init(GPIOE, &GPIO_InitStruct);

  /**/
  GPIO_InitStruct.Pin = GYRO2_NSS_Pin|GYRO1_NSS_Pin|BARO_NSS_Pin;
  GPIO_InitStruct.Mode = LL_GPIO_MODE_OUTPUT;
  GPIO_InitStruct.Speed = LL_GPIO_SPEED_FREQ_LOW;
  GPIO_InitStruct.OutputType = LL_GPIO_OUTPUT_PUSHPULL;
  GPIO_InitStruct.Pull = LL_GPIO_PULL_UP;
  LL_GPIO_Init(GPIOE, &GPIO_InitStruct);

  /**/
  GPIO_InitStruct.Pin = BARO_INT_Pin;
  GPIO_InitStruct.Mode = LL_GPIO_MODE_INPUT;
  GPIO_InitStruct.Pull = LL_GPIO_PULL_NO;
  LL_GPIO_Init(BARO_INT_GPIO_Port, &GPIO_InitStruct);

  /**/
  GPIO_InitStruct.Pin = GPS1_SW_LED_Pin;
  GPIO_InitStruct.Mode = LL_GPIO_MODE_OUTPUT;
  GPIO_InitStruct.Speed = LL_GPIO_SPEED_FREQ_LOW;
  GPIO_InitStruct.OutputType = LL_GPIO_OUTPUT_PUSHPULL;
  GPIO_InitStruct.Pull = LL_GPIO_PULL_NO;
  LL_GPIO_Init(GPS1_SW_LED_GPIO_Port, &GPIO_InitStruct);

  /**/
  LL_SYSCFG_SetEXTISource(LL_SYSCFG_EXTI_PORTE, LL_SYSCFG_EXTI_LINE14);

  /**/
  EXTI_InitStruct.Line_0_31 = LL_EXTI_LINE_14;
  EXTI_InitStruct.LineCommand = ENABLE;
  EXTI_InitStruct.Mode = LL_EXTI_MODE_IT;
  EXTI_InitStruct.Trigger = LL_EXTI_TRIGGER_FALLING;
  LL_EXTI_Init(&EXTI_InitStruct);

  /**/
  LL_GPIO_SetPinPull(PPM_IN_GPIO_Port, PPM_IN_Pin, LL_GPIO_PULL_NO);

  /**/
  LL_GPIO_SetPinMode(PPM_IN_GPIO_Port, PPM_IN_Pin, LL_GPIO_MODE_INPUT);

  /* EXTI interrupt init*/
  NVIC_SetPriority(EXTI15_10_IRQn, NVIC_EncodePriority(NVIC_GetPriorityGrouping(),0, 0));
  NVIC_EnableIRQ(EXTI15_10_IRQn);

  /* USER CODE BEGIN MX_GPIO_Init_2 */
  LL_EXTI_EnableIT_0_31(LL_EXTI_LINE_14);
  LL_EXTI_EnableFallingTrig_0_31(LL_EXTI_LINE_14);
  /* USER CODE END MX_GPIO_Init_2 */
}

void Error_Handler(void)
{
  __disable_irq();
  while (1)
  {
  }
}
